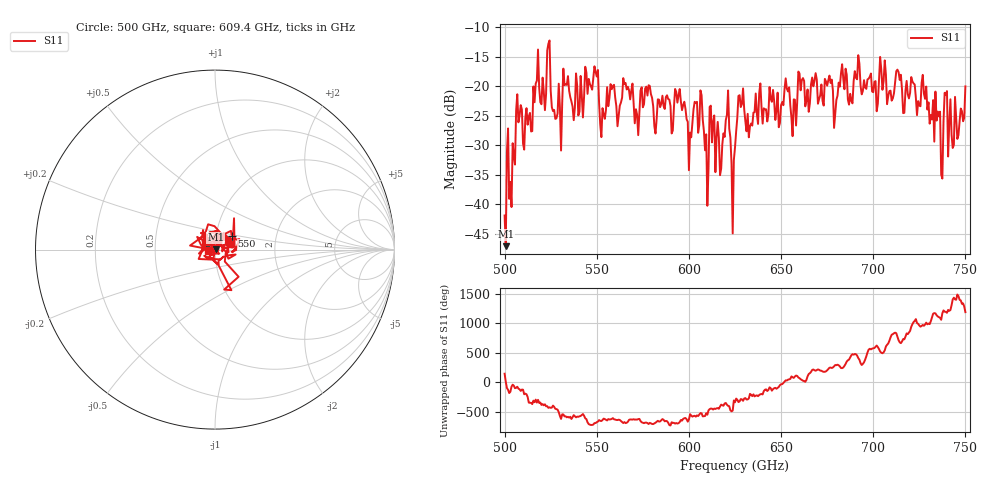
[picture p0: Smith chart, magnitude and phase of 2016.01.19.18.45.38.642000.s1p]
!Created with skrf (http://scikit-rf.org).
# GHz S RI R 50.0
!freq ReS11 ImS11
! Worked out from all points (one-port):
!   401 points, 500 GHz to 750 GHz, reference 50 ohm
!   lowest |S11| = -47.1 dB at 500.6 GHz (marker M1), VSWR 1.01, Z = 50.4 + j0.0586 ohm
!   |S11| at or under -10 dB: start of sweep to end of sweep
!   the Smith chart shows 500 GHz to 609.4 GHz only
!   S11 on the Smith chart (normalised r, x): 500 GHz: 0.99, +0.01; 550 GHz: 1.19, +0.18; 609.4 GHz: 0.93, -0.01
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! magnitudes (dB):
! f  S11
! 500 GHz  -41.9
! 500.6 GHz  -47.1
! 507.5 GHz  -26.1
! 513.8 GHz  -24.5
! 516.9 GHz  -19.6
! 523.8 GHz  -12.8
! 526.9 GHz  -24.0
! 531.2 GHz  -22.8
! 550 GHz  -18.4
! 553.1 GHz  -23.7
! 562.5 GHz  -23.3
! 593.8 GHz  -22.8
! 600 GHz  -34.2
! 606.9 GHz  -21.5
! 609.4 GHz  -28.2
! 612.5 GHz  -29.5
! 617.5 GHz  -34.0
! 620.6 GHz  -24.8
! 625 GHz  -30.4
! 628.1 GHz  -23.5
! 656.2 GHz  -28.5
! 660.6 GHz  -20.7
! 687.5 GHz  -21.3
! 691.2 GHz  -18.8
! 718.8 GHz  -21.4
! 727.5 GHz  -21.3
! 736.9 GHz  -35.0
! 750 GHz  -20.0
